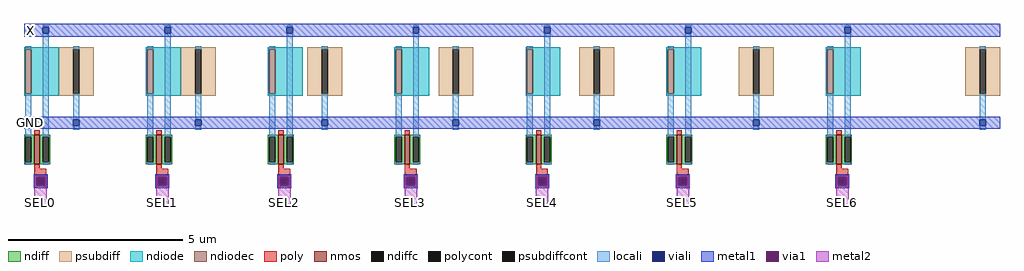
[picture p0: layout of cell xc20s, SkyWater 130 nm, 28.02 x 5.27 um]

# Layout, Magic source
magic
tech sky130A
magscale 1 2
<< nmos >>
rect 60 -392 90 -224
rect 760 -392 790 -224
rect 1460 -392 1490 -224
rect 2186 -392 2216 -224
rect 2940 -392 2970 -224
rect 3748 -392 3778 -224
rect 4664 -392 4694 -224
<< ndiff >>
rect 0 -236 60 -224
rect 0 -380 8 -236
rect 42 -380 60 -236
rect 0 -392 60 -380
rect 90 -236 150 -224
rect 90 -380 108 -236
rect 142 -380 150 -236
rect 90 -392 150 -380
rect 700 -236 760 -224
rect 700 -380 708 -236
rect 742 -380 760 -236
rect 700 -392 760 -380
rect 790 -236 850 -224
rect 790 -380 808 -236
rect 842 -380 850 -236
rect 790 -392 850 -380
rect 1400 -236 1460 -224
rect 1400 -380 1408 -236
rect 1442 -380 1460 -236
rect 1400 -392 1460 -380
rect 1490 -236 1550 -224
rect 1490 -380 1508 -236
rect 1542 -380 1550 -236
rect 1490 -392 1550 -380
rect 2126 -236 2186 -224
rect 2126 -380 2134 -236
rect 2168 -380 2186 -236
rect 2126 -392 2186 -380
rect 2216 -236 2276 -224
rect 2216 -380 2234 -236
rect 2268 -380 2276 -236
rect 2216 -392 2276 -380
rect 2880 -236 2940 -224
rect 2880 -380 2888 -236
rect 2922 -380 2940 -236
rect 2880 -392 2940 -380
rect 2970 -236 3030 -224
rect 2970 -380 2988 -236
rect 3022 -380 3030 -236
rect 2970 -392 3030 -380
rect 3688 -236 3748 -224
rect 3688 -380 3696 -236
rect 3730 -380 3748 -236
rect 3688 -392 3748 -380
rect 3778 -236 3838 -224
rect 3778 -380 3796 -236
rect 3830 -380 3838 -236
rect 3778 -392 3838 -380
rect 4604 -236 4664 -224
rect 4604 -380 4612 -236
rect 4646 -380 4664 -236
rect 4604 -392 4664 -380
rect 4694 -236 4754 -224
rect 4694 -380 4712 -236
rect 4746 -380 4754 -236
rect 4694 -392 4754 -380
<< ndiffc >>
rect 8 -380 42 -236
rect 108 -380 142 -236
rect 708 -380 742 -236
rect 808 -380 842 -236
rect 1408 -380 1442 -236
rect 1508 -380 1542 -236
rect 2134 -380 2168 -236
rect 2234 -380 2268 -236
rect 2888 -380 2922 -236
rect 2988 -380 3022 -236
rect 3696 -380 3730 -236
rect 3796 -380 3830 -236
rect 4612 -380 4646 -236
rect 4712 -380 4746 -236
<< psubdiff >>
rect 200 268 400 280
rect 200 12 283 268
rect 317 12 400 268
rect 200 0 400 12
rect 900 268 1100 280
rect 900 12 983 268
rect 1017 12 1100 268
rect 900 0 1100 12
rect 1626 268 1826 280
rect 1626 12 1709 268
rect 1743 12 1826 268
rect 1626 0 1826 12
rect 2380 268 2580 280
rect 2380 12 2463 268
rect 2497 12 2580 268
rect 2380 0 2580 12
rect 3188 268 3388 280
rect 3188 12 3271 268
rect 3305 12 3388 268
rect 3188 0 3388 12
rect 4104 268 4304 280
rect 4104 12 4187 268
rect 4221 12 4304 268
rect 4104 0 4304 12
rect 5404 268 5604 280
rect 5404 12 5487 268
rect 5521 12 5604 268
rect 5404 0 5604 12
<< psubdiffcont >>
rect 283 12 317 268
rect 983 12 1017 268
rect 1709 12 1743 268
rect 2463 12 2497 268
rect 3271 12 3305 268
rect 4187 12 4221 268
rect 5487 12 5521 268
<< poly >>
rect 60 -224 90 -198
rect 760 -224 790 -198
rect 1460 -224 1490 -198
rect 2186 -224 2216 -198
rect 2940 -224 2970 -198
rect 3748 -224 3778 -198
rect 4664 -224 4694 -198
rect 60 -418 90 -392
rect 760 -418 790 -392
rect 1460 -418 1490 -392
rect 2186 -418 2216 -392
rect 2940 -418 2970 -392
rect 3748 -418 3778 -392
rect 4664 -418 4694 -392
rect 60 -474 128 -418
rect 60 -508 78 -474
rect 112 -508 128 -474
rect 60 -524 128 -508
rect 760 -474 828 -418
rect 760 -508 778 -474
rect 812 -508 828 -474
rect 760 -524 828 -508
rect 1460 -474 1528 -418
rect 1460 -508 1478 -474
rect 1512 -508 1528 -474
rect 1460 -524 1528 -508
rect 2186 -474 2254 -418
rect 2186 -508 2204 -474
rect 2238 -508 2254 -474
rect 2186 -524 2254 -508
rect 2940 -474 3008 -418
rect 2940 -508 2958 -474
rect 2992 -508 3008 -474
rect 2940 -524 3008 -508
rect 3748 -474 3816 -418
rect 3748 -508 3766 -474
rect 3800 -508 3816 -474
rect 3748 -524 3816 -508
rect 4664 -474 4732 -418
rect 4664 -508 4682 -474
rect 4716 -508 4732 -474
rect 4664 -524 4732 -508
<< polycont >>
rect 78 -508 112 -474
rect 778 -508 812 -474
rect 1478 -508 1512 -474
rect 2204 -508 2238 -474
rect 2958 -508 2992 -474
rect 3766 -508 3800 -474
rect 4682 -508 4716 -474
<< ndiode >>
rect 0 268 200 280
rect 0 12 8 268
rect 42 12 200 268
rect 0 0 200 12
rect 700 268 900 280
rect 700 12 708 268
rect 742 12 900 268
rect 700 0 900 12
rect 1400 268 1600 280
rect 1400 12 1408 268
rect 1442 12 1600 268
rect 1400 0 1600 12
rect 2126 268 2326 280
rect 2126 12 2134 268
rect 2168 12 2326 268
rect 2126 0 2326 12
rect 2880 268 3080 280
rect 2880 12 2888 268
rect 2922 12 3080 268
rect 2880 0 3080 12
rect 3688 268 3888 280
rect 3688 12 3696 268
rect 3730 12 3888 268
rect 3688 0 3888 12
rect 4604 268 4804 280
rect 4604 12 4612 268
rect 4646 12 4804 268
rect 4604 0 4804 12
<< ndiodec >>
rect 8 12 42 268
rect 708 12 742 268
rect 1408 12 1442 268
rect 2134 12 2168 268
rect 2888 12 2922 268
rect 3696 12 3730 268
rect 4612 12 4646 268
<< locali >>
rect 108 394 142 406
rect 8 268 42 284
rect 8 -236 42 12
rect 8 -396 42 -380
rect 108 -236 142 360
rect 808 394 842 406
rect 283 268 317 284
rect 283 -138 317 12
rect 283 -194 317 -172
rect 708 268 742 284
rect 108 -396 142 -380
rect 708 -236 742 12
rect 708 -396 742 -380
rect 808 -236 842 360
rect 1508 394 1542 406
rect 983 268 1017 284
rect 983 -138 1017 12
rect 983 -194 1017 -172
rect 1408 268 1442 284
rect 808 -396 842 -380
rect 1408 -236 1442 12
rect 1408 -396 1442 -380
rect 1508 -236 1542 360
rect 2234 394 2268 406
rect 1709 268 1743 284
rect 1709 -138 1743 12
rect 1709 -194 1743 -172
rect 2134 268 2168 284
rect 1508 -396 1542 -380
rect 2134 -236 2168 12
rect 2134 -396 2168 -380
rect 2234 -236 2268 360
rect 2988 394 3022 406
rect 2463 268 2497 284
rect 2463 -138 2497 12
rect 2463 -194 2497 -172
rect 2888 268 2922 284
rect 2234 -396 2268 -380
rect 2888 -236 2922 12
rect 2888 -396 2922 -380
rect 2988 -236 3022 360
rect 3796 394 3830 406
rect 3271 268 3305 284
rect 3271 -138 3305 12
rect 3271 -194 3305 -172
rect 3696 268 3730 284
rect 2988 -396 3022 -380
rect 3696 -236 3730 12
rect 3696 -396 3730 -380
rect 3796 -236 3830 360
rect 4712 394 4746 406
rect 4187 268 4221 284
rect 4187 -138 4221 12
rect 4187 -194 4221 -172
rect 4612 268 4646 284
rect 3796 -396 3830 -380
rect 4612 -236 4646 12
rect 4612 -396 4646 -380
rect 4712 -236 4746 360
rect 5487 268 5521 284
rect 5487 -138 5521 12
rect 5487 -194 5521 -172
rect 4712 -396 4746 -380
rect 78 -474 112 -458
rect 78 -524 112 -508
rect 778 -474 812 -458
rect 778 -524 812 -508
rect 1478 -474 1512 -458
rect 1478 -524 1512 -508
rect 2204 -474 2238 -458
rect 2204 -524 2238 -508
rect 2958 -474 2992 -458
rect 2958 -524 2992 -508
rect 3766 -474 3800 -458
rect 3766 -524 3800 -508
rect 4682 -474 4716 -458
rect 4682 -524 4716 -508
<< viali >>
rect 108 360 142 394
rect 808 360 842 394
rect 283 -172 317 -138
rect 1508 360 1542 394
rect 983 -172 1017 -138
rect 2234 360 2268 394
rect 1709 -172 1743 -138
rect 2988 360 3022 394
rect 2463 -172 2497 -138
rect 3796 360 3830 394
rect 3271 -172 3305 -138
rect 4712 360 4746 394
rect 4187 -172 4221 -138
rect 5487 -172 5521 -138
rect 78 -508 112 -474
rect 778 -508 812 -474
rect 1478 -508 1512 -474
rect 2204 -508 2238 -474
rect 2958 -508 2992 -474
rect 3766 -508 3800 -474
rect 4682 -508 4716 -474
<< metal1 >>
rect 0 394 5604 414
rect 0 360 108 394
rect 142 360 808 394
rect 842 360 1508 394
rect 1542 360 2234 394
rect 2268 360 2988 394
rect 3022 360 3796 394
rect 3830 360 4712 394
rect 4746 360 5604 394
rect 0 340 5604 360
rect 0 -138 5604 -120
rect 0 -172 283 -138
rect 317 -172 983 -138
rect 1017 -172 1709 -138
rect 1743 -172 2463 -138
rect 2497 -172 3271 -138
rect 3305 -172 4187 -138
rect 4221 -172 5487 -138
rect 5521 -172 5604 -138
rect 0 -190 5604 -172
rect 55 -465 135 -451
rect 55 -517 69 -465
rect 121 -517 135 -465
rect 55 -531 135 -517
rect 755 -465 835 -451
rect 755 -517 769 -465
rect 821 -517 835 -465
rect 755 -531 835 -517
rect 1455 -465 1535 -451
rect 1455 -517 1469 -465
rect 1521 -517 1535 -465
rect 1455 -531 1535 -517
rect 2181 -465 2261 -451
rect 2181 -517 2195 -465
rect 2247 -517 2261 -465
rect 2181 -531 2261 -517
rect 2935 -465 3015 -451
rect 2935 -517 2949 -465
rect 3001 -517 3015 -465
rect 2935 -531 3015 -517
rect 3743 -465 3823 -451
rect 3743 -517 3757 -465
rect 3809 -517 3823 -465
rect 3743 -531 3823 -517
rect 4659 -465 4739 -451
rect 4659 -517 4673 -465
rect 4725 -517 4739 -465
rect 4659 -531 4739 -517
<< via1 >>
rect 69 -474 121 -465
rect 69 -508 78 -474
rect 78 -508 112 -474
rect 112 -508 121 -474
rect 69 -517 121 -508
rect 769 -474 821 -465
rect 769 -508 778 -474
rect 778 -508 812 -474
rect 812 -508 821 -474
rect 769 -517 821 -508
rect 1469 -474 1521 -465
rect 1469 -508 1478 -474
rect 1478 -508 1512 -474
rect 1512 -508 1521 -474
rect 1469 -517 1521 -508
rect 2195 -474 2247 -465
rect 2195 -508 2204 -474
rect 2204 -508 2238 -474
rect 2238 -508 2247 -474
rect 2195 -517 2247 -508
rect 2949 -474 3001 -465
rect 2949 -508 2958 -474
rect 2958 -508 2992 -474
rect 2992 -508 3001 -474
rect 2949 -517 3001 -508
rect 3757 -474 3809 -465
rect 3757 -508 3766 -474
rect 3766 -508 3800 -474
rect 3800 -508 3809 -474
rect 3757 -517 3809 -508
rect 4673 -474 4725 -465
rect 4673 -508 4682 -474
rect 4682 -508 4716 -474
rect 4716 -508 4725 -474
rect 4673 -517 4725 -508
<< metal2 >>
rect 59 -465 131 -455
rect 59 -517 69 -465
rect 121 -517 131 -465
rect 59 -640 131 -517
rect 759 -465 831 -455
rect 759 -517 769 -465
rect 821 -517 831 -465
rect 759 -640 831 -517
rect 1459 -465 1531 -455
rect 1459 -517 1469 -465
rect 1521 -517 1531 -465
rect 1459 -640 1531 -517
rect 2185 -465 2257 -455
rect 2185 -517 2195 -465
rect 2247 -517 2257 -465
rect 2185 -640 2257 -517
rect 2939 -465 3011 -455
rect 2939 -517 2949 -465
rect 3001 -517 3011 -465
rect 2939 -640 3011 -517
rect 3747 -465 3819 -455
rect 3747 -517 3757 -465
rect 3809 -517 3819 -465
rect 3747 -640 3819 -517
rect 4663 -465 4735 -455
rect 4663 -517 4673 -465
rect 4725 -517 4735 -465
rect 4663 -640 4735 -517
<< labels >>
flabel metal2 59 -640 131 -580 0 FreeSans 320 0 0 0 SEL0
port 1 nsew
flabel metal2 759 -640 831 -580 0 FreeSans 320 0 0 0 SEL1
port 2 nsew
flabel metal2 1459 -640 1531 -580 0 FreeSans 320 0 0 0 SEL2
port 3 nsew
flabel metal2 2185 -640 2257 -580 0 FreeSans 320 0 0 0 SEL3
port 4 nsew
flabel metal2 2939 -640 3011 -580 0 FreeSans 320 0 0 0 SEL4
port 5 nsew
flabel metal2 3747 -640 3819 -580 0 FreeSans 320 0 0 0 SEL5
port 6 nsew
flabel metal2 4663 -640 4735 -580 0 FreeSans 320 0 0 0 SEL6
port 7 nsew
flabel metal1 0 340 80 414 0 FreeSans 320 0 0 0 X
port 8 nsew
flabel metal1 0 -190 80 -120 0 FreeSans 320 0 0 0 GND
port 9 nsew
<< end >>
